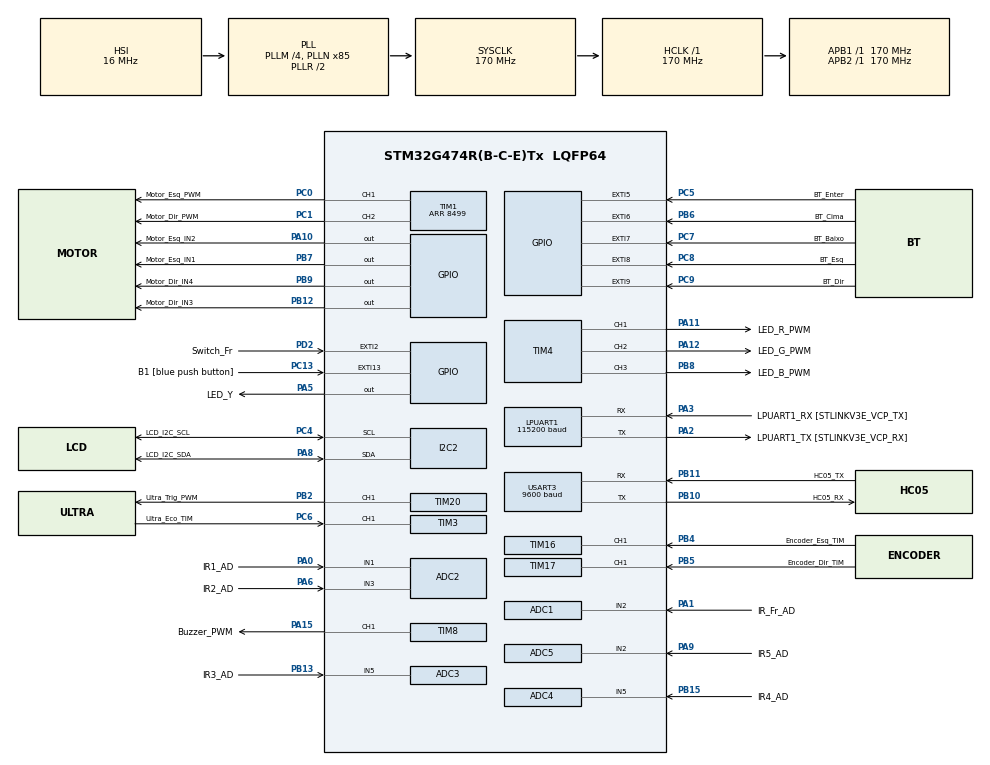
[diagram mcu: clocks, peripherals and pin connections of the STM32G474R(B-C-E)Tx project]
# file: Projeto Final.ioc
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ADC1.Channel-0\#ChannelRegularConversion=ADC_CHANNEL_2
ADC1.NbrOfConversionFlag=1
ADC1.OffsetNumber-0\#ChannelRegularConversion=ADC_OFFSET_NONE
ADC1.Rank-0\#ChannelRegularConversion=1
ADC1.SamplingTime-0\#ChannelRegularConversion=ADC_SAMPLETIME_2CYCLES_5
ADC1.master=1
ADC2.Channel-1\#ChannelRegularConversion=ADC_CHANNEL_1
ADC2.NbrOfConversionFlag=1
ADC2.OffsetNumber-1\#ChannelRegularConversion=ADC_OFFSET_NONE
ADC2.Rank-1\#ChannelRegularConversion=1
ADC2.SamplingTime-1\#ChannelRegularConversion=ADC_SAMPLETIME_2CYCLES_5
ADC3.Channel-0\#ChannelRegularConversion=ADC_CHANNEL_5
ADC3.NbrOfConversionFlag=1
ADC3.OffsetNumber-0\#ChannelRegularConversion=ADC_OFFSET_NONE
ADC3.Rank-0\#ChannelRegularConversion=1
ADC3.SamplingTime-0\#ChannelRegularConversion=ADC_SAMPLETIME_2CYCLES_5
ADC3.master=1
ADC4.Channel-0\#ChannelRegularConversion=ADC_CHANNEL_5
ADC4.NbrOfConversionFlag=1
ADC4.OffsetNumber-0\#ChannelRegularConversion=ADC_OFFSET_NONE
ADC4.Rank-0\#ChannelRegularConversion=1
ADC4.SamplingTime-0\#ChannelRegularConversion=ADC_SAMPLETIME_2CYCLES_5
ADC5.Channel-1\#ChannelRegularConversion=ADC_CHANNEL_2
ADC5.NbrOfConversionFlag=1
ADC5.OffsetNumber-1\#ChannelRegularConversion=ADC_OFFSET_NONE
ADC5.Rank-1\#ChannelRegularConversion=1
ADC5.SamplingTime-1\#ChannelRegularConversion=ADC_SAMPLETIME_2CYCLES_5
FREERTOS.Queues01=queueMotorCmd,16,uint32_t,0,Dynamic,NULL,NULL
FREERTOS.Tasks01=LineCtrlTask,1,512,StartLineCtrlTask,Default,NULL,Dynamic,NULL,NULL;MotorCtrlTask,2,256,StartMotorCtrlTask,Default,NULL,Dynamic,NULL,NULL
FREERTOS.configTOTAL_HEAP_SIZE=8192
FREERTOS.configUSE_TIMERS=1
I2C2.Timing=0x30A0A7FB
LPUART1.BaudRate=115200
LPUART1.WordLength=UART_WORDLENGTH_8B
Mcu.Family=STM32G4
Mcu.Name=STM32G474R(B-C-E)Tx
Mcu.Package=LQFP64
NVIC.EXTI15_10_IRQn=true\:5\:0\:false\:false\:true\:true\:true\:true\:true
NVIC.EXTI2_IRQn=true\:5\:0\:false\:false\:true\:true\:true\:true\:true
NVIC.PriorityGroup=NVIC_PRIORITYGROUP_4
NVIC.TIM1_TRG_COM_TIM17_IRQn=true\:5\:0\:false\:false\:true\:true\:true\:true\:true
NVIC.TIM1_UP_TIM16_IRQn=true\:5\:0\:false\:false\:true\:true\:true\:true\:true
NVIC.TIM3_IRQn=true\:5\:0\:false\:false\:true\:true\:true\:true\:true
NVIC.USART3_IRQn=true\:5\:0\:false\:false\:true\:true\:true\:true\:true
PA0.GPIO_Label=IR1_AD
PA0.Mode=IN1-Single-Ended
PA0.Signal=ADC2_IN1
PA1.GPIO_Label=IR_Fr_AD
PA1.Mode=IN2-Single-Ended
PA1.Signal=ADC1_IN2
PA10.GPIO_Label=Motor_Esq_IN2
PA10.Signal=GPIO_Output
PA11.GPIO_Label=LED_R_PWM
PA11.Signal=S_TIM4_CH1
PA12.GPIO_Label=LED_G_PWM
PA12.Signal=S_TIM4_CH2
PA13.GPIO_Label=T_SWDIO
PA13.Mode=Serial_Wire
PA13.Signal=SYS_JTMS-SWDIO
PA14.GPIO_Label=T_SWCLK
PA14.Mode=Serial_Wire
PA14.Signal=SYS_JTCK-SWCLK
PA15.GPIO_Label=Buzzer_PWM
PA15.Signal=S_TIM8_CH1
PA2.GPIO_Label=LPUART1_TX [STLINKV3E_VCP_RX]
PA2.Mode=Asynchronous
PA2.Signal=LPUART1_TX
PA3.GPIO_Label=LPUART1_RX [STLINKV3E_VCP_TX]
PA3.Mode=Asynchronous
PA3.Signal=LPUART1_RX
PA5.GPIO_Label=LED_Y
PA5.Signal=GPIO_Output
PA6.GPIO_Label=IR2_AD
PA6.Mode=IN3-Single-Ended
PA6.Signal=ADC2_IN3
PA7.GPIO_Label=Tensao_Bateria
PA7.Signal=OPAMP1_VINP
PA8.GPIO_Label=LCD_I2C_SDA
PA8.Mode=I2C
PA8.Signal=I2C2_SDA
PA9.GPIO_Label=IR5_AD
PA9.Mode=IN2-Single-Ended
PA9.Signal=ADC5_IN2
PB10.GPIO_Label=HC05_RX
PB10.Mode=Asynchronous
PB10.Signal=USART3_TX
PB11.GPIO_Label=HC05_TX
PB11.Mode=Asynchronous
PB11.Signal=USART3_RX
PB12.GPIO_Label=Motor_Dir_IN3
PB12.Signal=GPIO_Output
PB13.GPIO_Label=IR3_AD
PB13.Mode=IN5-Single-Ended
PB13.Signal=ADC3_IN5
PB15.GPIO_Label=IR4_AD
PB15.Mode=IN5-Single-Ended
PB15.Signal=ADC4_IN5
PB2.GPIO_Label=Ultra_Trig_PWM
PB2.Mode=PWM Generation1 CH1
PB2.Signal=TIM20_CH1
PB3.GPIO_Label=T_SWO
PB3.Signal=SYS_JTDO-SWO
PB4.GPIO_Label=Encoder_Esq_TIM
PB4.Signal=S_TIM16_CH1
PB5.GPIO_Label=Encoder_Dir_TIM
PB5.Signal=S_TIM17_CH1
PB6.GPIO_Label=BT_Cima
PB6.Signal=GPXTI6
PB7.GPIO_Label=Motor_Esq_IN1
PB7.Signal=GPIO_Output
PB8-BOOT0.GPIO_Label=LED_B_PWM
PB8-BOOT0.Signal=S_TIM4_CH3
PB9.GPIO_Label=Motor_Dir_IN4
PB9.Signal=GPIO_Output
PC0.GPIO_Label=Motor_Esq_PWM
PC0.Signal=S_TIM1_CH1
PC1.GPIO_Label=Motor_Dir_PWM
PC1.Signal=S_TIM1_CH2
PC13.GPIO_Label=B1 [blue push button]
PC13.Signal=GPXTI13
PC14-OSC32_IN.Mode=LSE-External-Oscillator
PC14-OSC32_IN.Signal=RCC_OSC32_IN
PC15-OSC32_OUT.Mode=LSE-External-Oscillator
PC15-OSC32_OUT.Signal=RCC_OSC32_OUT
PC4.GPIO_Label=LCD_I2C_SCL
PC4.Mode=I2C
PC4.Signal=I2C2_SCL
PC5.GPIO_Label=BT_Enter
PC5.Signal=GPXTI5
PC6.GPIO_Label=Ultra_Eco_TIM
PC6.Signal=S_TIM3_CH1
PC7.GPIO_Label=BT_Baixo
PC7.Signal=GPXTI7
PC8.GPIO_Label=BT_Esq
PC8.Signal=GPXTI8
PC9.GPIO_Label=BT_Dir
PC9.Signal=GPXTI9
PD2.GPIO_Label=Switch_Fr
PD2.Signal=GPXTI2
PF0-OSC_IN.Mode=HSE-External-Oscillator
PF0-OSC_IN.Signal=RCC_OSC_IN
PF1-OSC_OUT.Mode=HSE-External-Oscillator
PF1-OSC_OUT.Signal=RCC_OSC_OUT
ProjectManager.HeapSize=0x200
ProjectManager.StackSize=0x400
ProjectManager.TargetToolchain=STM32CubeIDE
RCC.ADC12Freq_Value=170000000
RCC.ADC345Freq_Value=170000000
RCC.AHBFreq_Value=170000000
RCC.APB1Freq_Value=170000000
RCC.APB1TimFreq_Value=170000000
RCC.APB2Freq_Value=170000000
RCC.APB2TimFreq_Value=170000000
RCC.CortexFreq_Value=170000000
RCC.EXTERNAL_CLOCK_VALUE=12288000
RCC.HCLKFreq_Value=170000000
RCC.HSE_VALUE=24000000
RCC.HSI48_VALUE=48000000
RCC.HSI_VALUE=16000000
RCC.PLLM=RCC_PLLM_DIV4
RCC.PLLN=85
RCC.RTCClockSelection=RCC_RTCCLKSOURCE_LSE
RCC.SYSCLKFreq_VALUE=170000000
RCC.SYSCLKSource=RCC_SYSCLKSOURCE_PLLCLK
RCC.USBFreq_Value=170000000
RCC.VCOOutputFreq_Value=340000000
SH.S_TIM16_CH1.0=TIM16_CH1,Input_Capture1_from_TI1
SH.S_TIM17_CH1.0=TIM17_CH1,Input_Capture1_from_TI1
SH.S_TIM1_CH1.0=TIM1_CH1,PWM Generation1 CH1
SH.S_TIM1_CH2.0=TIM1_CH2,PWM Generation2 CH2
SH.S_TIM3_CH1.0=TIM3_CH1,Input_Capture1_from_TI1
SH.S_TIM4_CH1.0=TIM4_CH1,PWM Generation1 CH1
SH.S_TIM4_CH2.0=TIM4_CH2,PWM Generation2 CH2
SH.S_TIM4_CH3.0=TIM4_CH3,PWM Generation3 CH3
SH.S_TIM8_CH1.0=TIM8_CH1,PWM Generation1 CH1
TIM1.Channel-PWM\ Generation1\ CH1=TIM_CHANNEL_1
TIM1.Channel-PWM\ Generation2\ CH2=TIM_CHANNEL_2
TIM1.PeriodNoDither=8499
TIM16.Channel=TIM_CHANNEL_1
TIM17.Channel=TIM_CHANNEL_1
TIM20.Channel-PWM\ Generation1\ CH1=TIM_CHANNEL_1
TIM20.PeriodNoDither=100
TIM20.Prescaler=169
TIM3.Channel-Input_Capture1_from_TI1=TIM_CHANNEL_1
TIM3.Prescaler=169
TIM4.Channel-PWM\ Generation1\ CH1=TIM_CHANNEL_1
TIM4.Channel-PWM\ Generation2\ CH2=TIM_CHANNEL_2
TIM4.Channel-PWM\ Generation3\ CH3=TIM_CHANNEL_3
TIM8.Channel-PWM\ Generation1\ CH1=TIM_CHANNEL_1
TIM8.PeriodNoDither=999
TIM8.Prescaler=169
USART3.BaudRate=9600
USART3.VirtualMode-Asynchronous=VM_ASYNC
VP_FREERTOS_VS_CMSIS_V2.Mode=CMSIS_V2
VP_SYS_VS_DBSignals.Mode=DisableDeadBatterySignals
VP_TIM16_VS_ClockSourceINT.Mode=Enable_Timer
VP_TIM17_VS_ClockSourceINT.Mode=Enable_Timer
board=NUCLEO-G474RE

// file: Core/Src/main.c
/* USER CODE BEGIN Header */
/**
  ******************************************************************************
  * @file           : main.c
  * @brief          : Main program body
  ******************************************************************************
  * @attention
  *
  * Copyright (c) 2026 STMicroelectronics.
  * All rights reserved.
  *
  * This software is licensed under terms that can be found in the LICENSE file
  * in the root directory of this software component.
  * If no LICENSE file comes with this software, it is provided AS-IS.
  *
  ******************************************************************************
  */
/* USER CODE END Header */
#include "main.h"
#include "cmsis_os.h"

/* USER CODE BEGIN Includes */
#include "app_tasks.h"
#include "encoder.h"
#include "line_sensor.h"
#include "motor.h"
#include "telemetry.h"
#include "lcd_i2c.h"
#include "bluetooth.h"
#include "ultrasonic.h"
/* USER CODE END Includes */

ADC_HandleTypeDef hadc1;
ADC_HandleTypeDef hadc2;
ADC_HandleTypeDef hadc3;
ADC_HandleTypeDef hadc4;
ADC_HandleTypeDef hadc5;

I2C_HandleTypeDef hi2c2;

UART_HandleTypeDef hlpuart1;
UART_HandleTypeDef huart3;

TIM_HandleTypeDef htim1;
TIM_HandleTypeDef htim3;
TIM_HandleTypeDef htim4;
TIM_HandleTypeDef htim8;
TIM_HandleTypeDef htim16;
TIM_HandleTypeDef htim17;
TIM_HandleTypeDef htim20;

/* Definitions for LineCtrlTask */
osThreadId_t LineCtrlTaskHandle;
const osThreadAttr_t LineCtrlTask_attributes = {
  .name = "LineCtrlTask",
  .priority = (osPriority_t) osPriorityIdle,
  .stack_size = 512 * 4
};
/* Definitions for MotorCtrlTask */
osThreadId_t MotorCtrlTaskHandle;
const osThreadAttr_t MotorCtrlTask_attributes = {
  .name = "MotorCtrlTask",
  .priority = (osPriority_t) osPriorityNormal,
  .stack_size = 256 * 4
};
/* Definitions for queueMotorCmd */
osMessageQueueId_t queueMotorCmdHandle;
const osMessageQueueAttr_t queueMotorCmd_attributes = {
  .name = "queueMotorCmd"
};
/* USER CODE BEGIN PV */
static osThreadId_t lcdTaskHandle;
static const osThreadAttr_t lcdTask_attr = {
    .name = "LcdTask",
    .priority = (osPriority_t) osPriorityBelowNormal,
    .stack_size = 256 * 4
};
static osThreadId_t btTaskHandle;
static const osThreadAttr_t btTask_attr = {
    .name = "BluetoothTask",
    .priority = (osPriority_t) osPriorityBelowNormal,
    .stack_size = 512 * 4
};
static uint8_t bt_rx_byte;
/* USER CODE END PV */

void SystemClock_Config(void);
static void MX_GPIO_Init(void);
static void MX_LPUART1_UART_Init(void);
static void MX_ADC3_Init(void);
static void MX_I2C2_Init(void);
static void MX_USART3_UART_Init(void);
static void MX_TIM1_Init(void);
static void MX_TIM3_Init(void);
static void MX_TIM8_Init(void);
static void MX_TIM16_Init(void);
static void MX_TIM17_Init(void);
static void MX_TIM20_Init(void);
static void MX_ADC1_Init(void);
static void MX_ADC5_Init(void);
static void MX_TIM4_Init(void);
static void MX_ADC2_Init(void);
static void MX_ADC4_Init(void);
void StartLineCtrlTask(void *argument);
void StartMotorCtrlTask(void *argument);

int main(void)
{

  /* MCU Configuration--------------------------------------------------------*/

  /* Reset of all peripherals, Initializes the Flash interface and the Systick. */
  HAL_Init();

  /* Configure the system clock */
  SystemClock_Config();

  /* Initialize all configured peripherals */
  MX_GPIO_Init();
  MX_LPUART1_UART_Init();
  MX_ADC3_Init();
  MX_I2C2_Init();
  MX_USART3_UART_Init();
  MX_TIM1_Init();
  MX_TIM3_Init();
  MX_TIM8_Init();
  MX_TIM16_Init();
  MX_TIM17_Init();
  MX_TIM20_Init();
  MX_ADC1_Init();
  MX_ADC5_Init();
  MX_TIM4_Init();
  MX_ADC2_Init();
  MX_ADC4_Init();
  /* USER CODE BEGIN 2 */
  {
    GPIO_InitTypeDef GPIO_InitStruct = {0};

    GPIO_InitStruct.Pin = BT_Enter_Pin | BT_Baixo_Pin | BT_Esq_Pin | BT_Dir_Pin;
    GPIO_InitStruct.Mode = GPIO_MODE_IT_RISING_FALLING;
    GPIO_InitStruct.Pull = GPIO_NOPULL;
    HAL_GPIO_Init(GPIOC, &GPIO_InitStruct);

    GPIO_InitStruct.Pin = BT_Cima_Pin;
    GPIO_InitStruct.Mode = GPIO_MODE_IT_RISING_FALLING;
    HAL_GPIO_Init(BT_Cima_GPIO_Port, &GPIO_InitStruct);

    GPIO_InitStruct.Pin = Switch_Fr_Pin;
    GPIO_InitStruct.Mode = GPIO_MODE_IT_FALLING;
    GPIO_InitStruct.Pull = GPIO_PULLUP;
    HAL_GPIO_Init(Switch_Fr_GPIO_Port, &GPIO_InitStruct);
  }

  Motor_Init();

  {
    GPIO_InitTypeDef buzzer_gpio = {0};
    buzzer_gpio.Pin = Buzzer_PWM_Pin;
    buzzer_gpio.Mode = GPIO_MODE_OUTPUT_PP;
    buzzer_gpio.Pull = GPIO_NOPULL;
    buzzer_gpio.Speed = GPIO_SPEED_FREQ_LOW;
    HAL_GPIO_Init(Buzzer_PWM_GPIO_Port, &buzzer_gpio);
    HAL_GPIO_WritePin(Buzzer_PWM_GPIO_Port, Buzzer_PWM_Pin, GPIO_PIN_RESET);
  }

  Ultrasonic_Init();
  HAL_UART_Receive_IT(&huart3, &bt_rx_byte, 1);
  /* USER CODE END 2 */

  /* Init scheduler */
  osKernelInitialize();

  /* USER CODE BEGIN RTOS_MUTEX */
  Telemetry_Init();
  /* USER CODE END RTOS_MUTEX */

  /* Create the queue(s) */
  /* creation of queueMotorCmd */
  queueMotorCmdHandle = osMessageQueueNew (16, sizeof(uint32_t), &queueMotorCmd_attributes);

  /* Create the thread(s) */
  /* creation of LineCtrlTask */
  LineCtrlTaskHandle = osThreadNew(StartLineCtrlTask, NULL, &LineCtrlTask_attributes);

  /* creation of MotorCtrlTask */
  MotorCtrlTaskHandle = osThreadNew(StartMotorCtrlTask, NULL, &MotorCtrlTask_attributes);

  /* USER CODE BEGIN RTOS_THREADS */
  lcdTaskHandle = osThreadNew(App_LcdTask, NULL, &lcdTask_attr);
  btTaskHandle = osThreadNew(App_BluetoothTask, NULL, &btTask_attr);
  /* USER CODE END RTOS_THREADS */

  /* Start scheduler */
  osKernelStart();
  /* We should never get here as control is now taken by the scheduler */
  /* Infinite loop */
  while (1)
  {

  }
}

void SystemClock_Config(void)
{
  RCC_OscInitTypeDef RCC_OscInitStruct = {0};
  RCC_ClkInitTypeDef RCC_ClkInitStruct = {0};

  /** Configure the main internal regulator output voltage
  */
  HAL_PWREx_ControlVoltageScaling(PWR_REGULATOR_VOLTAGE_SCALE1_BOOST);

  /** Initializes the RCC Oscillators according to the specified parameters
  * in the RCC_OscInitTypeDef structure.
  */
  RCC_OscInitStruct.OscillatorType = RCC_OSCILLATORTYPE_HSI;
  RCC_OscInitStruct.HSIState = RCC_HSI_ON;
  RCC_OscInitStruct.HSICalibrationValue = RCC_HSICALIBRATION_DEFAULT;
  RCC_OscInitStruct.PLL.PLLState = RCC_PLL_ON;
  RCC_OscInitStruct.PLL.PLLSource = RCC_PLLSOURCE_HSI;
  RCC_OscInitStruct.PLL.PLLM = RCC_PLLM_DIV4;
  RCC_OscInitStruct.PLL.PLLN = 85;
  RCC_OscInitStruct.PLL.PLLP = RCC_PLLP_DIV2;
  RCC_OscInitStruct.PLL.PLLQ = RCC_PLLQ_DIV2;
  RCC_OscInitStruct.PLL.PLLR = RCC_PLLR_DIV2;
  if (HAL_RCC_OscConfig(&RCC_OscInitStruct) != HAL_OK)
  {
    Error_Handler();
  }

  /** Initializes the CPU, AHB and APB buses clocks
  */
  RCC_ClkInitStruct.ClockType = RCC_CLOCKTYPE_HCLK|RCC_CLOCKTYPE_SYSCLK
                              |RCC_CLOCKTYPE_PCLK1|RCC_CLOCKTYPE_PCLK2;
  RCC_ClkInitStruct.SYSCLKSource = RCC_SYSCLKSOURCE_PLLCLK;
  RCC_ClkInitStruct.AHBCLKDivider = RCC_SYSCLK_DIV1;
  RCC_ClkInitStruct.APB1CLKDivider = RCC_HCLK_DIV1;
  RCC_ClkInitStruct.APB2CLKDivider = RCC_HCLK_DIV1;

  if (HAL_RCC_ClockConfig(&RCC_ClkInitStruct, FLASH_LATENCY_4) != HAL_OK)
  {
    Error_Handler();
  }
}

static void MX_ADC1_Init(void)
{

  ADC_MultiModeTypeDef multimode = {0};
  ADC_ChannelConfTypeDef sConfig = {0};

  /** Common config
  */
  hadc1.Instance = ADC1;
  hadc1.Init.ClockPrescaler = ADC_CLOCK_SYNC_PCLK_DIV4;
  hadc1.Init.Resolution = ADC_RESOLUTION_12B;
  hadc1.Init.DataAlign = ADC_DATAALIGN_RIGHT;
  hadc1.Init.GainCompensation = 0;
  hadc1.Init.ScanConvMode = ADC_SCAN_DISABLE;
  hadc1.Init.EOCSelection = ADC_EOC_SINGLE_CONV;
  hadc1.Init.LowPowerAutoWait = DISABLE;
  hadc1.Init.ContinuousConvMode = DISABLE;
  hadc1.Init.NbrOfConversion = 1;
  hadc1.Init.DiscontinuousConvMode = DISABLE;
  hadc1.Init.ExternalTrigConv = ADC_SOFTWARE_START;
  hadc1.Init.ExternalTrigConvEdge = ADC_EXTERNALTRIGCONVEDGE_NONE;
  hadc1.Init.DMAContinuousRequests = DISABLE;
  hadc1.Init.Overrun = ADC_OVR_DATA_PRESERVED;
  hadc1.Init.OversamplingMode = DISABLE;
  if (HAL_ADC_Init(&hadc1) != HAL_OK)
  {
    Error_Handler();
  }

  /** Configure the ADC multi-mode
  */
  multimode.Mode = ADC_MODE_INDEPENDENT;
  if (HAL_ADCEx_MultiModeConfigChannel(&hadc1, &multimode) != HAL_OK)
  {
    Error_Handler();
  }

  /** Configure Regular Channel
  */
  sConfig.Channel = ADC_CHANNEL_2;
  sConfig.Rank = ADC_REGULAR_RANK_1;
  sConfig.SamplingTime = ADC_SAMPLETIME_2CYCLES_5;
  sConfig.SingleDiff = ADC_SINGLE_ENDED;
  sConfig.OffsetNumber = ADC_OFFSET_NONE;
  sConfig.Offset = 0;
  if (HAL_ADC_ConfigChannel(&hadc1, &sConfig) != HAL_OK)
  {
    Error_Handler();
  }

}

static void MX_ADC2_Init(void)
{

  ADC_ChannelConfTypeDef sConfig = {0};

  /** Common config
  */
  hadc2.Instance = ADC2;
  hadc2.Init.ClockPrescaler = ADC_CLOCK_SYNC_PCLK_DIV4;
  hadc2.Init.Resolution = ADC_RESOLUTION_12B;
  hadc2.Init.DataAlign = ADC_DATAALIGN_RIGHT;
  hadc2.Init.GainCompensation = 0;
  hadc2.Init.ScanConvMode = ADC_SCAN_DISABLE;
  hadc2.Init.EOCSelection = ADC_EOC_SINGLE_CONV;
  hadc2.Init.LowPowerAutoWait = DISABLE;
  hadc2.Init.ContinuousConvMode = DISABLE;
  hadc2.Init.NbrOfConversion = 1;
  hadc2.Init.DiscontinuousConvMode = DISABLE;
  hadc2.Init.ExternalTrigConv = ADC_SOFTWARE_START;
  hadc2.Init.ExternalTrigConvEdge = ADC_EXTERNALTRIGCONVEDGE_NONE;
  hadc2.Init.DMAContinuousRequests = DISABLE;
  hadc2.Init.Overrun = ADC_OVR_DATA_PRESERVED;
  hadc2.Init.OversamplingMode = DISABLE;
  if (HAL_ADC_Init(&hadc2) != HAL_OK)
  {
    Error_Handler();
  }

  /** Configure Regular Channel
  */
  sConfig.Channel = ADC_CHANNEL_1;
  sConfig.Rank = ADC_REGULAR_RANK_1;
  sConfig.SamplingTime = ADC_SAMPLETIME_2CYCLES_5;
  sConfig.SingleDiff = ADC_SINGLE_ENDED;
  sConfig.OffsetNumber = ADC_OFFSET_NONE;
  sConfig.Offset = 0;
  if (HAL_ADC_ConfigChannel(&hadc2, &sConfig) != HAL_OK)
  {
    Error_Handler();
  }

}

static void MX_ADC3_Init(void)
{

  ADC_MultiModeTypeDef multimode = {0};
  ADC_ChannelConfTypeDef sConfig = {0};

  /** Common config
  */
  hadc3.Instance = ADC3;
  hadc3.Init.ClockPrescaler = ADC_CLOCK_SYNC_PCLK_DIV4;
  hadc3.Init.Resolution = ADC_RESOLUTION_12B;
  hadc3.Init.DataAlign = ADC_DATAALIGN_RIGHT;
  hadc3.Init.GainCompensation = 0;
  hadc3.Init.ScanConvMode = ADC_SCAN_DISABLE;
  hadc3.Init.EOCSelection = ADC_EOC_SINGLE_CONV;
  hadc3.Init.LowPowerAutoWait = DISABLE;
  hadc3.Init.ContinuousConvMode = DISABLE;
  hadc3.Init.NbrOfConversion = 1;
  hadc3.Init.DiscontinuousConvMode = DISABLE;
  hadc3.Init.ExternalTrigConv = ADC_SOFTWARE_START;
  hadc3.Init.ExternalTrigConvEdge = ADC_EXTERNALTRIGCONVEDGE_NONE;
  hadc3.Init.DMAContinuousRequests = DISABLE;
  hadc3.Init.Overrun = ADC_OVR_DATA_PRESERVED;
  hadc3.Init.OversamplingMode = DISABLE;
  if (HAL_ADC_Init(&hadc3) != HAL_OK)
  {
    Error_Handler();
  }

  /** Configure the ADC multi-mode
  */
  multimode.Mode = ADC_MODE_INDEPENDENT;
  if (HAL_ADCEx_MultiModeConfigChannel(&hadc3, &multimode) != HAL_OK)
  {
    Error_Handler();
  }

  /** Configure Regular Channel
  */
  sConfig.Channel = ADC_CHANNEL_5;
  sConfig.Rank = ADC_REGULAR_RANK_1;
  sConfig.SamplingTime = ADC_SAMPLETIME_2CYCLES_5;
  sConfig.SingleDiff = ADC_SINGLE_ENDED;
  sConfig.OffsetNumber = ADC_OFFSET_NONE;
  sConfig.Offset = 0;
  if (HAL_ADC_ConfigChannel(&hadc3, &sConfig) != HAL_OK)
  {
    Error_Handler();
  }

}

static void MX_ADC4_Init(void)
{

  ADC_ChannelConfTypeDef sConfig = {0};

  /** Common config
  */
  hadc4.Instance = ADC4;
  hadc4.Init.ClockPrescaler = ADC_CLOCK_SYNC_PCLK_DIV4;
  hadc4.Init.Resolution = ADC_RESOLUTION_12B;
  hadc4.Init.DataAlign = ADC_DATAALIGN_RIGHT;
  hadc4.Init.GainCompensation = 0;
  hadc4.Init.ScanConvMode = ADC_SCAN_DISABLE;
  hadc4.Init.EOCSelection = ADC_EOC_SINGLE_CONV;
  hadc4.Init.LowPowerAutoWait = DISABLE;
  hadc4.Init.ContinuousConvMode = DISABLE;
  hadc4.Init.NbrOfConversion = 1;
  hadc4.Init.DiscontinuousConvMode = DISABLE;
  hadc4.Init.ExternalTrigConv = ADC_SOFTWARE_START;
  hadc4.Init.ExternalTrigConvEdge = ADC_EXTERNALTRIGCONVEDGE_NONE;
  hadc4.Init.DMAContinuousRequests = DISABLE;
  hadc4.Init.Overrun = ADC_OVR_DATA_PRESERVED;
  hadc4.Init.OversamplingMode = DISABLE;
  if (HAL_ADC_Init(&hadc4) != HAL_OK)
  {
    Error_Handler();
  }

  /** Configure Regular Channel
  */
  sConfig.Channel = ADC_CHANNEL_5;
  sConfig.Rank = ADC_REGULAR_RANK_1;
  sConfig.SamplingTime = ADC_SAMPLETIME_2CYCLES_5;
  sConfig.SingleDiff = ADC_SINGLE_ENDED;
  sConfig.OffsetNumber = ADC_OFFSET_NONE;
  sConfig.Offset = 0;
  if (HAL_ADC_ConfigChannel(&hadc4, &sConfig) != HAL_OK)
  {
    Error_Handler();
  }

}

static void MX_ADC5_Init(void)
{

  ADC_ChannelConfTypeDef sConfig = {0};

  /** Common config
  */
  hadc5.Instance = ADC5;
  hadc5.Init.ClockPrescaler = ADC_CLOCK_SYNC_PCLK_DIV4;
  hadc5.Init.Resolution = ADC_RESOLUTION_12B;
  hadc5.Init.DataAlign = ADC_DATAALIGN_RIGHT;
  hadc5.Init.GainCompensation = 0;
  hadc5.Init.ScanConvMode = ADC_SCAN_DISABLE;
  hadc5.Init.EOCSelection = ADC_EOC_SINGLE_CONV;
  hadc5.Init.LowPowerAutoWait = DISABLE;
  hadc5.Init.ContinuousConvMode = DISABLE;
  hadc5.Init.NbrOfConversion = 1;
  hadc5.Init.DiscontinuousConvMode = DISABLE;
  hadc5.Init.ExternalTrigConv = ADC_SOFTWARE_START;
  hadc5.Init.ExternalTrigConvEdge = ADC_EXTERNALTRIGCONVEDGE_NONE;
  hadc5.Init.DMAContinuousRequests = DISABLE;
  hadc5.Init.Overrun = ADC_OVR_DATA_PRESERVED;
  hadc5.Init.OversamplingMode = DISABLE;
  if (HAL_ADC_Init(&hadc5) != HAL_OK)
  {
    Error_Handler();
  }

  /** Configure Regular Channel
  */
  sConfig.Channel = ADC_CHANNEL_2;
  sConfig.Rank = ADC_REGULAR_RANK_1;
  sConfig.SamplingTime = ADC_SAMPLETIME_2CYCLES_5;
  sConfig.SingleDiff = ADC_SINGLE_ENDED;
  sConfig.OffsetNumber = ADC_OFFSET_NONE;
  sConfig.Offset = 0;
  if (HAL_ADC_ConfigChannel(&hadc5, &sConfig) != HAL_OK)
  {
    Error_Handler();
  }

}

static void MX_I2C2_Init(void)
{

  hi2c2.Instance = I2C2;
  hi2c2.Init.Timing = 0x30A0A7FB;
  hi2c2.Init.OwnAddress1 = 0;
  hi2c2.Init.AddressingMode = I2C_ADDRESSINGMODE_7BIT;
  hi2c2.Init.DualAddressMode = I2C_DUALADDRESS_DISABLE;
  hi2c2.Init.OwnAddress2 = 0;
  hi2c2.Init.OwnAddress2Masks = I2C_OA2_NOMASK;
  hi2c2.Init.GeneralCallMode = I2C_GENERALCALL_DISABLE;
  hi2c2.Init.NoStretchMode = I2C_NOSTRETCH_DISABLE;
  if (HAL_I2C_Init(&hi2c2) != HAL_OK)
  {
    Error_Handler();
  }

  /** Configure Analogue filter
  */
  if (HAL_I2CEx_ConfigAnalogFilter(&hi2c2, I2C_ANALOGFILTER_ENABLE) != HAL_OK)
  {
    Error_Handler();
  }

  /** Configure Digital filter
  */
  if (HAL_I2CEx_ConfigDigitalFilter(&hi2c2, 0) != HAL_OK)
  {
    Error_Handler();
  }

}

static void MX_LPUART1_UART_Init(void)
{

  hlpuart1.Instance = LPUART1;
  hlpuart1.Init.BaudRate = 115200;
  hlpuart1.Init.WordLength = UART_WORDLENGTH_8B;
  hlpuart1.Init.StopBits = UART_STOPBITS_1;
  hlpuart1.Init.Parity = UART_PARITY_NONE;
  hlpuart1.Init.Mode = UART_MODE_TX_RX;
  hlpuart1.Init.HwFlowCtl = UART_HWCONTROL_NONE;
  hlpuart1.Init.OneBitSampling = UART_ONE_BIT_SAMPLE_DISABLE;
  hlpuart1.Init.ClockPrescaler = UART_PRESCALER_DIV1;
  hlpuart1.AdvancedInit.AdvFeatureInit = UART_ADVFEATURE_NO_INIT;
  if (HAL_UART_Init(&hlpuart1) != HAL_OK)
  {
    Error_Handler();
  }
  if (HAL_UARTEx_SetTxFifoThreshold(&hlpuart1, UART_TXFIFO_THRESHOLD_1_8) != HAL_OK)
  {
    Error_Handler();
  }
  if (HAL_UARTEx_SetRxFifoThreshold(&hlpuart1, UART_RXFIFO_THRESHOLD_1_8) != HAL_OK)
  {
    Error_Handler();
  }
  if (HAL_UARTEx_DisableFifoMode(&hlpuart1) != HAL_OK)
  {
    Error_Handler();
  }

}

static void MX_USART3_UART_Init(void)
{

  huart3.Instance = USART3;
  huart3.Init.BaudRate = 9600;
  huart3.Init.WordLength = UART_WORDLENGTH_8B;
  huart3.Init.StopBits = UART_STOPBITS_1;
  huart3.Init.Parity = UART_PARITY_NONE;
  huart3.Init.Mode = UART_MODE_TX_RX;
  huart3.Init.HwFlowCtl = UART_HWCONTROL_NONE;
  huart3.Init.OverSampling = UART_OVERSAMPLING_16;
  huart3.Init.OneBitSampling = UART_ONE_BIT_SAMPLE_DISABLE;
  huart3.Init.ClockPrescaler = UART_PRESCALER_DIV1;
  huart3.AdvancedInit.AdvFeatureInit = UART_ADVFEATURE_NO_INIT;
  if (HAL_UART_Init(&huart3) != HAL_OK)
  {
    Error_Handler();
  }
  if (HAL_UARTEx_SetTxFifoThreshold(&huart3, UART_TXFIFO_THRESHOLD_1_8) != HAL_OK)
  {
    Error_Handler();
  }
  if (HAL_UARTEx_SetRxFifoThreshold(&huart3, UART_RXFIFO_THRESHOLD_1_8) != HAL_OK)
  {
    Error_Handler();
  }
  if (HAL_UARTEx_DisableFifoMode(&huart3) != HAL_OK)
  {
    Error_Handler();
  }

}

static void MX_TIM1_Init(void)
{

  TIM_MasterConfigTypeDef sMasterConfig = {0};
  TIM_OC_InitTypeDef sConfigOC = {0};
  TIM_BreakDeadTimeConfigTypeDef sBreakDeadTimeConfig = {0};

  htim1.Instance = TIM1;
  htim1.Init.Prescaler = 0;
  htim1.Init.CounterMode = TIM_COUNTERMODE_UP;
  htim1.Init.Period = 8499;
  htim1.Init.ClockDivision = TIM_CLOCKDIVISION_DIV1;
  htim1.Init.RepetitionCounter = 0;
  htim1.Init.AutoReloadPreload = TIM_AUTORELOAD_PRELOAD_DISABLE;
  if (HAL_TIM_PWM_Init(&htim1) != HAL_OK)
  {
    Error_Handler();
  }
  sMasterConfig.MasterOutputTrigger = TIM_TRGO_RESET;
  sMasterConfig.MasterOutputTrigger2 = TIM_TRGO2_RESET;
  sMasterConfig.MasterSlaveMode = TIM_MASTERSLAVEMODE_DISABLE;
  if (HAL_TIMEx_MasterConfigSynchronization(&htim1, &sMasterConfig) != HAL_OK)
  {
    Error_Handler();
  }
  sConfigOC.OCMode = TIM_OCMODE_PWM1;
  sConfigOC.Pulse = 0;
  sConfigOC.OCPolarity = TIM_OCPOLARITY_HIGH;
  sConfigOC.OCNPolarity = TIM_OCNPOLARITY_HIGH;
  sConfigOC.OCFastMode = TIM_OCFAST_DISABLE;
  sConfigOC.OCIdleState = TIM_OCIDLESTATE_RESET;
  sConfigOC.OCNIdleState = TIM_OCNIDLESTATE_RESET;
  if (HAL_TIM_PWM_ConfigChannel(&htim1, &sConfigOC, TIM_CHANNEL_1) != HAL_OK)
  {
    Error_Handler();
  }
  if (HAL_TIM_PWM_ConfigChannel(&htim1, &sConfigOC, TIM_CHANNEL_2) != HAL_OK)
  {
    Error_Handler();
  }
  sBreakDeadTimeConfig.OffStateRunMode = TIM_OSSR_DISABLE;
  sBreakDeadTimeConfig.OffStateIDLEMode = TIM_OSSI_DISABLE;
  sBreakDeadTimeConfig.LockLevel = TIM_LOCKLEVEL_OFF;
  sBreakDeadTimeConfig.DeadTime = 0;
  sBreakDeadTimeConfig.BreakState = TIM_BREAK_DISABLE;
  sBreakDeadTimeConfig.BreakPolarity = TIM_BREAKPOLARITY_HIGH;
  sBreakDeadTimeConfig.BreakFilter = 0;
  sBreakDeadTimeConfig.BreakAFMode = TIM_BREAK_AFMODE_INPUT;
  sBreakDeadTimeConfig.Break2State = TIM_BREAK2_DISABLE;
  sBreakDeadTimeConfig.Break2Polarity = TIM_BREAK2POLARITY_HIGH;
  sBreakDeadTimeConfig.Break2Filter = 0;
  sBreakDeadTimeConfig.Break2AFMode = TIM_BREAK_AFMODE_INPUT;
  sBreakDeadTimeConfig.AutomaticOutput = TIM_AUTOMATICOUTPUT_DISABLE;
  if (HAL_TIMEx_ConfigBreakDeadTime(&htim1, &sBreakDeadTimeConfig) != HAL_OK)
  {
    Error_Handler();
  }
  HAL_TIM_MspPostInit(&htim1);

}

static void MX_TIM3_Init(void)
{

  TIM_MasterConfigTypeDef sMasterConfig = {0};
  TIM_IC_InitTypeDef sConfigIC = {0};

  htim3.Instance = TIM3;
  htim3.Init.Prescaler = 169;
  htim3.Init.CounterMode = TIM_COUNTERMODE_UP;
  htim3.Init.Period = 65535;
  htim3.Init.ClockDivision = TIM_CLOCKDIVISION_DIV1;
  htim3.Init.AutoReloadPreload = TIM_AUTORELOAD_PRELOAD_DISABLE;
  if (HAL_TIM_IC_Init(&htim3) != HAL_OK)
  {
    Error_Handler();
  }
  sMasterConfig.MasterOutputTrigger = TIM_TRGO_RESET;
  sMasterConfig.MasterSlaveMode = TIM_MASTERSLAVEMODE_DISABLE;
  if (HAL_TIMEx_MasterConfigSynchronization(&htim3, &sMasterConfig) != HAL_OK)
  {
    Error_Handler();
  }
  sConfigIC.ICPolarity = TIM_INPUTCHANNELPOLARITY_RISING;
  sConfigIC.ICSelection = TIM_ICSELECTION_DIRECTTI;
  sConfigIC.ICPrescaler = TIM_ICPSC_DIV1;
  sConfigIC.ICFilter = 0;
  if (HAL_TIM_IC_ConfigChannel(&htim3, &sConfigIC, TIM_CHANNEL_1) != HAL_OK)
  {
    Error_Handler();
  }

}

static void MX_TIM4_Init(void)
{

  TIM_MasterConfigTypeDef sMasterConfig = {0};
  TIM_OC_InitTypeDef sConfigOC = {0};

  htim4.Instance = TIM4;
  htim4.Init.Prescaler = 0;
  htim4.Init.CounterMode = TIM_COUNTERMODE_UP;
  htim4.Init.Period = 65535;
  htim4.Init.ClockDivision = TIM_CLOCKDIVISION_DIV1;
  htim4.Init.AutoReloadPreload = TIM_AUTORELOAD_PRELOAD_DISABLE;
  if (HAL_TIM_PWM_Init(&htim4) != HAL_OK)
  {
    Error_Handler();
  }
  sMasterConfig.MasterOutputTrigger = TIM_TRGO_RESET;
  sMasterConfig.MasterSlaveMode = TIM_MASTERSLAVEMODE_DISABLE;
  if (HAL_TIMEx_MasterConfigSynchronization(&htim4, &sMasterConfig) != HAL_OK)
  {
    Error_Handler();
  }
  sConfigOC.OCMode = TIM_OCMODE_PWM1;
  sConfigOC.Pulse = 0;
  sConfigOC.OCPolarity = TIM_OCPOLARITY_HIGH;
  sConfigOC.OCFastMode = TIM_OCFAST_DISABLE;
  if (HAL_TIM_PWM_ConfigChannel(&htim4, &sConfigOC, TIM_CHANNEL_1) != HAL_OK)
  {
    Error_Handler();
  }
  if (HAL_TIM_PWM_ConfigChannel(&htim4, &sConfigOC, TIM_CHANNEL_2) != HAL_OK)
  {
    Error_Handler();
  }
  if (HAL_TIM_PWM_ConfigChannel(&htim4, &sConfigOC, TIM_CHANNEL_3) != HAL_OK)
  {
    Error_Handler();
  }
  HAL_TIM_MspPostInit(&htim4);

}

static void MX_TIM8_Init(void)
{

  TIM_MasterConfigTypeDef sMasterConfig = {0};
  TIM_OC_InitTypeDef sConfigOC = {0};
  TIM_BreakDeadTimeConfigTypeDef sBreakDeadTimeConfig = {0};

  htim8.Instance = TIM8;
  htim8.Init.Prescaler = 169;
  htim8.Init.CounterMode = TIM_COUNTERMODE_UP;
  htim8.Init.Period = 999;
  htim8.Init.ClockDivision = TIM_CLOCKDIVISION_DIV1;
  htim8.Init.RepetitionCounter = 0;
  htim8.Init.AutoReloadPreload = TIM_AUTORELOAD_PRELOAD_DISABLE;
  if (HAL_TIM_PWM_Init(&htim8) != HAL_OK)
  {
    Error_Handler();
  }
  sMasterConfig.MasterOutputTrigger = TIM_TRGO_RESET;
  sMasterConfig.MasterOutputTrigger2 = TIM_TRGO2_RESET;
  sMasterConfig.MasterSlaveMode = TIM_MASTERSLAVEMODE_DISABLE;
  if (HAL_TIMEx_MasterConfigSynchronization(&htim8, &sMasterConfig) != HAL_OK)
  {
    Error_Handler();
  }
  sConfigOC.OCMode = TIM_OCMODE_PWM1;
  sConfigOC.Pulse = 0;
  sConfigOC.OCPolarity = TIM_OCPOLARITY_HIGH;
  sConfigOC.OCNPolarity = TIM_OCNPOLARITY_HIGH;
  sConfigOC.OCFastMode = TIM_OCFAST_DISABLE;
  sConfigOC.OCIdleState = TIM_OCIDLESTATE_RESET;
  sConfigOC.OCNIdleState = TIM_OCNIDLESTATE_RESET;
  if (HAL_TIM_PWM_ConfigChannel(&htim8, &sConfigOC, TIM_CHANNEL_1) != HAL_OK)
  {
    Error_Handler();
  }
  sBreakDeadTimeConfig.OffStateRunMode = TIM_OSSR_DISABLE;
  sBreakDeadTimeConfig.OffStateIDLEMode = TIM_OSSI_DISABLE;
  sBreakDeadTimeConfig.LockLevel = TIM_LOCKLEVEL_OFF;
  sBreakDeadTimeConfig.DeadTime = 0;
  sBreakDeadTimeConfig.BreakState = TIM_BREAK_DISABLE;
  sBreakDeadTimeConfig.BreakPolarity = TIM_BREAKPOLARITY_HIGH;
  sBreakDeadTimeConfig.BreakFilter = 0;
  sBreakDeadTimeConfig.BreakAFMode = TIM_BREAK_AFMODE_INPUT;
  sBreakDeadTimeConfig.Break2State = TIM_BREAK2_DISABLE;
  sBreakDeadTimeConfig.Break2Polarity = TIM_BREAK2POLARITY_HIGH;
  sBreakDeadTimeConfig.Break2Filter = 0;
  sBreakDeadTimeConfig.Break2AFMode = TIM_BREAK_AFMODE_INPUT;
  sBreakDeadTimeConfig.AutomaticOutput = TIM_AUTOMATICOUTPUT_DISABLE;
  if (HAL_TIMEx_ConfigBreakDeadTime(&htim8, &sBreakDeadTimeConfig) != HAL_OK)
  {
    Error_Handler();
  }
  HAL_TIM_MspPostInit(&htim8);

}

static void MX_TIM16_Init(void)
{

  TIM_IC_InitTypeDef sConfigIC = {0};

  htim16.Instance = TIM16;
  htim16.Init.Prescaler = 0;
  htim16.Init.CounterMode = TIM_COUNTERMODE_UP;
  htim16.Init.Period = 65535;
  htim16.Init.ClockDivision = TIM_CLOCKDIVISION_DIV1;
  htim16.Init.RepetitionCounter = 0;
  htim16.Init.AutoReloadPreload = TIM_AUTORELOAD_PRELOAD_DISABLE;
  if (HAL_TIM_Base_Init(&htim16) != HAL_OK)
  {
    Error_Handler();
  }
  if (HAL_TIM_IC_Init(&htim16) != HAL_OK)
  {
    Error_Handler();
  }
  sConfigIC.ICPolarity = TIM_INPUTCHANNELPOLARITY_RISING;
  sConfigIC.ICSelection = TIM_ICSELECTION_DIRECTTI;
  sConfigIC.ICPrescaler = TIM_ICPSC_DIV1;
  sConfigIC.ICFilter = 0;
  if (HAL_TIM_IC_ConfigChannel(&htim16, &sConfigIC, TIM_CHANNEL_1) != HAL_OK)
  {
    Error_Handler();
  }

}

static void MX_TIM17_Init(void)
{

  TIM_IC_InitTypeDef sConfigIC = {0};

  htim17.Instance = TIM17;
  htim17.Init.Prescaler = 0;
  htim17.Init.CounterMode = TIM_COUNTERMODE_UP;
  htim17.Init.Period = 65535;
  htim17.Init.ClockDivision = TIM_CLOCKDIVISION_DIV1;
  htim17.Init.RepetitionCounter = 0;
  htim17.Init.AutoReloadPreload = TIM_AUTORELOAD_PRELOAD_DISABLE;
  if (HAL_TIM_Base_Init(&htim17) != HAL_OK)
  {
    Error_Handler();
  }
  if (HAL_TIM_IC_Init(&htim17) != HAL_OK)
  {
    Error_Handler();
  }
  sConfigIC.ICPolarity = TIM_INPUTCHANNELPOLARITY_RISING;
  sConfigIC.ICSelection = TIM_ICSELECTION_DIRECTTI;
  sConfigIC.ICPrescaler = TIM_ICPSC_DIV1;
  sConfigIC.ICFilter = 0;
  if (HAL_TIM_IC_ConfigChannel(&htim17, &sConfigIC, TIM_CHANNEL_1) != HAL_OK)
  {
    Error_Handler();
  }

}

static void MX_TIM20_Init(void)
{

  TIM_MasterConfigTypeDef sMasterConfig = {0};
  TIM_OC_InitTypeDef sConfigOC = {0};
  TIM_BreakDeadTimeConfigTypeDef sBreakDeadTimeConfig = {0};

  htim20.Instance = TIM20;
  htim20.Init.Prescaler = 169;
  htim20.Init.CounterMode = TIM_COUNTERMODE_UP;
  htim20.Init.Period = 100;
  htim20.Init.ClockDivision = TIM_CLOCKDIVISION_DIV1;
  htim20.Init.RepetitionCounter = 0;
  htim20.Init.AutoReloadPreload = TIM_AUTORELOAD_PRELOAD_DISABLE;
  if (HAL_TIM_PWM_Init(&htim20) != HAL_OK)
  {
    Error_Handler();
  }
  sMasterConfig.MasterOutputTrigger = TIM_TRGO_RESET;
  sMasterConfig.MasterOutputTrigger2 = TIM_TRGO2_RESET;
  sMasterConfig.MasterSlaveMode = TIM_MASTERSLAVEMODE_DISABLE;
  if (HAL_TIMEx_MasterConfigSynchronization(&htim20, &sMasterConfig) != HAL_OK)
  {
    Error_Handler();
  }
  sConfigOC.OCMode = TIM_OCMODE_PWM1;
  sConfigOC.Pulse = 0;
  sConfigOC.OCPolarity = TIM_OCPOLARITY_HIGH;
  sConfigOC.OCNPolarity = TIM_OCNPOLARITY_HIGH;
  sConfigOC.OCFastMode = TIM_OCFAST_DISABLE;
  sConfigOC.OCIdleState = TIM_OCIDLESTATE_RESET;
  sConfigOC.OCNIdleState = TIM_OCNIDLESTATE_RESET;
  if (HAL_TIM_PWM_ConfigChannel(&htim20, &sConfigOC, TIM_CHANNEL_1) != HAL_OK)
  {
    Error_Handler();
  }
  sBreakDeadTimeConfig.OffStateRunMode = TIM_OSSR_DISABLE;
  sBreakDeadTimeConfig.OffStateIDLEMode = TIM_OSSI_DISABLE;
  sBreakDeadTimeConfig.LockLevel = TIM_LOCKLEVEL_OFF;
  sBreakDeadTimeConfig.DeadTime = 0;
  sBreakDeadTimeConfig.BreakState = TIM_BREAK_DISABLE;
  sBreakDeadTimeConfig.BreakPolarity = TIM_BREAKPOLARITY_HIGH;
  sBreakDeadTimeConfig.BreakFilter = 0;
  sBreakDeadTimeConfig.BreakAFMode = TIM_BREAK_AFMODE_INPUT;
  sBreakDeadTimeConfig.Break2State = TIM_BREAK2_DISABLE;
  sBreakDeadTimeConfig.Break2Polarity = TIM_BREAK2POLARITY_HIGH;
  sBreakDeadTimeConfig.Break2Filter = 0;
  sBreakDeadTimeConfig.Break2AFMode = TIM_BREAK_AFMODE_INPUT;
  sBreakDeadTimeConfig.AutomaticOutput = TIM_AUTOMATICOUTPUT_DISABLE;
  if (HAL_TIMEx_ConfigBreakDeadTime(&htim20, &sBreakDeadTimeConfig) != HAL_OK)
  {
    Error_Handler();
  }
  HAL_TIM_MspPostInit(&htim20);

}

static void MX_GPIO_Init(void)
{
  GPIO_InitTypeDef GPIO_InitStruct = {0};

  /* GPIO Ports Clock Enable */
  __HAL_RCC_GPIOC_CLK_ENABLE();
  __HAL_RCC_GPIOF_CLK_ENABLE();
  __HAL_RCC_GPIOA_CLK_ENABLE();
  __HAL_RCC_GPIOB_CLK_ENABLE();
  __HAL_RCC_GPIOD_CLK_ENABLE();

  /*Configure GPIO pin Output Level */
  HAL_GPIO_WritePin(GPIOA, LED_Y_Pin|Motor_Esq_IN2_Pin, GPIO_PIN_RESET);

  /*Configure GPIO pin Output Level */
  HAL_GPIO_WritePin(GPIOB, Motor_Dir_IN3_Pin|Motor_Esq_IN1_Pin|Motor_Dir_IN4_Pin, GPIO_PIN_RESET);

  /*Configure GPIO pins : B1_Pin BT_Enter_Pin BT_Baixo_Pin BT_Esq_Pin
                           BT_Dir_Pin */
  GPIO_InitStruct.Pin = B1_Pin|BT_Enter_Pin|BT_Baixo_Pin|BT_Esq_Pin
                          |BT_Dir_Pin;
  GPIO_InitStruct.Mode = GPIO_MODE_IT_RISING;
  GPIO_InitStruct.Pull = GPIO_NOPULL;
  HAL_GPIO_Init(GPIOC, &GPIO_InitStruct);

  /*Configure GPIO pins : LED_Y_Pin Motor_Esq_IN2_Pin */
  GPIO_InitStruct.Pin = LED_Y_Pin|Motor_Esq_IN2_Pin;
  GPIO_InitStruct.Mode = GPIO_MODE_OUTPUT_PP;
  GPIO_InitStruct.Pull = GPIO_NOPULL;
  GPIO_InitStruct.Speed = GPIO_SPEED_FREQ_LOW;
  HAL_GPIO_Init(GPIOA, &GPIO_InitStruct);

  /*Configure GPIO pin : Tensao_Bateria_Pin */
  GPIO_InitStruct.Pin = Tensao_Bateria_Pin;
  GPIO_InitStruct.Mode = GPIO_MODE_ANALOG;
  GPIO_InitStruct.Pull = GPIO_NOPULL;
  HAL_GPIO_Init(Tensao_Bateria_GPIO_Port, &GPIO_InitStruct);

  /*Configure GPIO pins : Motor_Dir_IN3_Pin Motor_Esq_IN1_Pin Motor_Dir_IN4_Pin */
  GPIO_InitStruct.Pin = Motor_Dir_IN3_Pin|Motor_Esq_IN1_Pin|Motor_Dir_IN4_Pin;
  GPIO_InitStruct.Mode = GPIO_MODE_OUTPUT_PP;
  GPIO_InitStruct.Pull = GPIO_NOPULL;
  GPIO_InitStruct.Speed = GPIO_SPEED_FREQ_LOW;
  HAL_GPIO_Init(GPIOB, &GPIO_InitStruct);

  /*Configure GPIO pin : Switch_Fr_Pin */
  GPIO_InitStruct.Pin = Switch_Fr_Pin;
  GPIO_InitStruct.Mode = GPIO_MODE_IT_RISING;
  GPIO_InitStruct.Pull = GPIO_NOPULL;
  HAL_GPIO_Init(Switch_Fr_GPIO_Port, &GPIO_InitStruct);

  /*Configure GPIO pin : BT_Cima_Pin */
  GPIO_InitStruct.Pin = BT_Cima_Pin;
  GPIO_InitStruct.Mode = GPIO_MODE_IT_RISING;
  GPIO_InitStruct.Pull = GPIO_NOPULL;
  HAL_GPIO_Init(BT_Cima_GPIO_Port, &GPIO_InitStruct);

  /* EXTI interrupt init*/
  HAL_NVIC_SetPriority(EXTI2_IRQn, 5, 0);
  HAL_NVIC_EnableIRQ(EXTI2_IRQn);

  HAL_NVIC_SetPriority(EXTI15_10_IRQn, 5, 0);
  HAL_NVIC_EnableIRQ(EXTI15_10_IRQn);

/* USER CODE BEGIN MX_GPIO_Init_2 */
  HAL_NVIC_SetPriority(EXTI9_5_IRQn, 5, 0);
  HAL_NVIC_EnableIRQ(EXTI9_5_IRQn);
/* USER CODE END MX_GPIO_Init_2 */
}

/* USER CODE BEGIN 4 */

void HAL_GPIO_EXTI_Callback(uint16_t GPIO_Pin)
{
    static uint32_t last_enter_tick = 0;
    static uint32_t last_baixo_tick = 0;
    static uint32_t last_esq_tick = 0;
    static uint32_t last_dir_tick = 0;

    if (GPIO_Pin == BT_Enter_Pin) {
        if (HAL_GPIO_ReadPin(BT_Enter_GPIO_Port, BT_Enter_Pin) != GPIO_PIN_SET) {
            return;
        }

        uint32_t now = HAL_GetTick();
        if (now - last_enter_tick < 200) {
            return;
        }
        last_enter_tick = now;

        /* Se estiver em calibracao de sensores, Enter finaliza
         * a captura (util para quem nao tem BT e nao quer esperar
         * o timeout de 30s). */
        if (follower_state == STATE_CALIB_SENSORES) {
            LineSensor_SetPolarity(LineSensor_DetectPolarity());
            LineSensor_FinalizeCalibration();
            HAL_GPIO_WritePin(LED_Y_GPIO_Port, LED_Y_Pin, GPIO_PIN_SET);
            follower_state = STATE_IDLE;
            /* Log do resultado da calibracao */
            LinePolarity pol = LineSensor_GetPolarity();
            const char *pol_str = (pol == LINE_POLARITY_DARK) ? "DARK" : "LIGHT";
            uint16_t mn[LINE_SENSOR_COUNT];
            uint16_t mx[LINE_SENSOR_COUNT];
            for (uint8_t k = 0U; k < LINE_SENSOR_COUNT; k++) {
                LineSensor_GetCalibrationBounds(k, &mn[k], &mx[k]);
            }
            char log_buf[96];
            int n = snprintf(log_buf, sizeof(log_buf),
                "Calib S OK (Enter): pol=%s mean=%.0f m=[%u,%u,%u,%u,%u]/[%u,%u,%u,%u,%u]\r\n",
                pol_str, LineSensor_GetCalibMeanRaw(),
                (unsigned)mn[0], (unsigned)mn[1], (unsigned)mn[2],
                (unsigned)mn[3], (unsigned)mn[4],
                (unsigned)mx[0], (unsigned)mx[1], (unsigned)mx[2],
                (unsigned)mx[3], (unsigned)mx[4]);
            if (n > 0 && n < (int)sizeof(log_buf)) {
                extern UART_HandleTypeDef hlpuart1;
                HAL_UART_Transmit(&hlpuart1, (uint8_t *)log_buf, (uint16_t)n, 100);
            }
            return;
        }

        if (follower_state == STATE_IDLE || follower_state == STATE_STOPPED ||
            follower_state == STATE_DEBUG) {
            LineSensor_ResetCalibration();
            follower_state = STATE_ALIGNING;
            HAL_GPIO_WritePin(LED_Y_GPIO_Port, LED_Y_Pin, GPIO_PIN_SET);
        }
        /* Enter so inicia; para durante seguimento use o switch frontal */
    }

    if (GPIO_Pin == BT_Baixo_Pin) {
        if (HAL_GPIO_ReadPin(BT_Baixo_GPIO_Port, BT_Baixo_Pin) != GPIO_PIN_SET) {
            return;
        }

        uint32_t now = HAL_GetTick();
        if (now - last_baixo_tick < 200) {
            return;
        }
        last_baixo_tick = now;

        if (follower_state == STATE_DEBUG) {
            follower_state = STATE_IDLE;
            HAL_GPIO_WritePin(LED_Y_GPIO_Port, LED_Y_Pin, GPIO_PIN_RESET);
        } else {
            follower_state = STATE_DEBUG;
            HAL_GPIO_WritePin(LED_Y_GPIO_Port, LED_Y_Pin, GPIO_PIN_SET);
        }
    }

    if (GPIO_Pin == BT_Esq_Pin) {
        /* Botao ESQUERDO: inicia calibracao passiva de sensores.
         * Equivalente a $CMD,CALIB,S. Util para quem nao tem BT. */
        if (HAL_GPIO_ReadPin(BT_Esq_GPIO_Port, BT_Esq_Pin) != GPIO_PIN_SET) {
            return;
        }

        uint32_t now = HAL_GetTick();
        if (now - last_esq_tick < 200) {
            return;
        }
        last_esq_tick = now;

        /* So inicia se estiver em IDLE, STOPPED ou DEBUG */
        if (follower_state == STATE_IDLE || follower_state == STATE_STOPPED ||
            follower_state == STATE_DEBUG) {
            App_StartCalibSensores();
        }
    }

    if (GPIO_Pin == BT_Dir_Pin) {
        /* Botao DIREITO: inicia calibracao ativa de motores.
         * Equivalente a $CMD,CALIB,M. Util para quem nao tem BT. */
        if (HAL_GPIO_ReadPin(BT_Dir_GPIO_Port, BT_Dir_Pin) != GPIO_PIN_SET) {
            return;
        }

        uint32_t now = HAL_GetTick();
        if (now - last_dir_tick < 200) {
            return;
        }
        last_dir_tick = now;

        /* So inicia se estiver em IDLE ou STOPPED */
        if (follower_state == STATE_IDLE || follower_state == STATE_STOPPED) {
            App_StartCalibMotores();
        }
    }

    if (GPIO_Pin == Switch_Fr_Pin) {
        if (HAL_GPIO_ReadPin(Switch_Fr_GPIO_Port, Switch_Fr_Pin) != GPIO_PIN_RESET) {
            return;
        }

        if (follower_state == STATE_FOLLOWING || follower_state == STATE_IN_CROSSING) {
            follower_state = STATE_STOPPING;
            HAL_GPIO_WritePin(LED_Y_GPIO_Port, LED_Y_Pin, GPIO_PIN_RESET);
        }
    }
}

void HAL_TIM_IC_CaptureCallback(TIM_HandleTypeDef *htim)
{
    if (htim->Instance == TIM16) {
        Encoder_LeftPulseISR();
    } else if (htim->Instance == TIM17) {
        Encoder_RightPulseISR();
    } else if (htim->Instance == TIM3) {
        Ultrasonic_CaptureISR();
    }
}

void HAL_UART_RxCpltCallback(UART_HandleTypeDef *huart)
{
    if (huart->Instance == USART3) {
        Bluetooth_RxCallback(bt_rx_byte);
        HAL_UART_Receive_IT(huart, &bt_rx_byte, 1);
    }
}

/* USER CODE END 4 */

void StartLineCtrlTask(void *argument)
{
  /* USER CODE BEGIN 5 */
  App_LineCtrlTask(argument);
  /* USER CODE END 5 */
}

void StartMotorCtrlTask(void *argument)
{
  /* USER CODE BEGIN StartMotorCtrlTask */
  App_MotorCtrlTask(argument);
  /* USER CODE END StartMotorCtrlTask */
}

void Error_Handler(void)
{
  __disable_irq();
  while (1)
  {
  }
}
